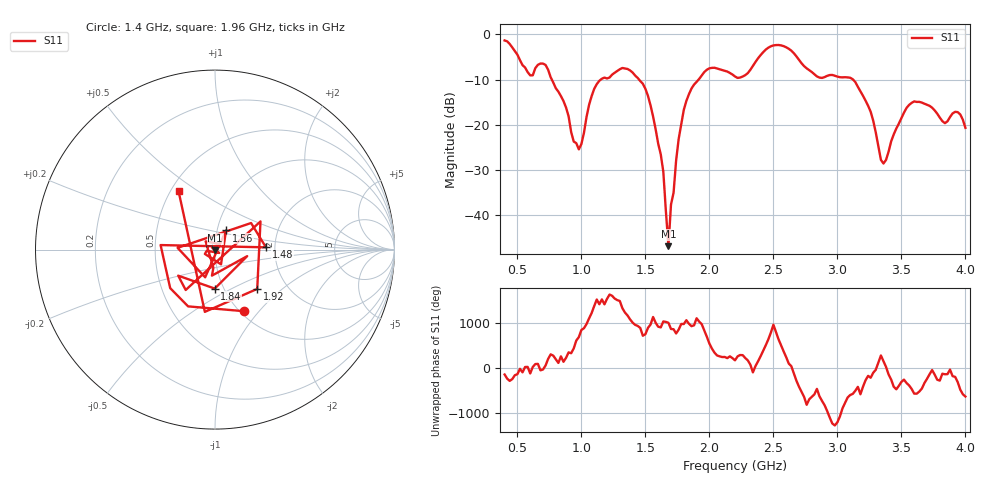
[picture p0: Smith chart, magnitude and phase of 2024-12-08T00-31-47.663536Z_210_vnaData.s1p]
!Created with skrf (http://scikit-rf.org).
# Hz S RI R 50.0
!freq ReS11 ImS11
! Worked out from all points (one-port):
!   181 points, 400 MHz to 4 GHz, reference 50 ohm
!   lowest |S11| = -47.0 dB at 1.68 GHz (marker M1), VSWR 1.01, Z = 50.2 - j0.421 ohm
!   |S11| at or under -10 dB: 768.7 MHz to 1.152 GHz (383.3 MHz wide, 39.9 % of centre); 1.45 GHz to 1.916 GHz (465.4 MHz wide, 27.7 % of centre); 3.122 GHz to end of sweep
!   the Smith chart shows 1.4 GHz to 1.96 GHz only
!   S11 on the Smith chart (normalised r, x): 1.4 GHz: 1.04, -0.83; 1.48 GHz: 1.79, +0.05; 1.56 GHz: 1.10, +0.24; 1.84 GHz: 0.91, -0.41; 1.92 GHz: 1.42, -0.69; 1.96 GHz: 0.55, +0.42
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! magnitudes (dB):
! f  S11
! 400 MHz  -1.3
! 600 MHz  -9.1
! 720 MHz  -6.8
! 860 MHz  -14.8
! 980 MHz  -25.5
! 1.1 GHz  -12.1
! 1.3 GHz  -7.7
! 1.4 GHz  -8.4
! 1.48 GHz  -10.9
! 1.56 GHz  -18.2
! 1.64 GHz  -30.5
! 1.68 GHz  -47.0
! 1.7 GHz  -37.7
! 1.76 GHz  -23.2
! 1.84 GHz  -13.3
! 1.92 GHz  -9.9
! 1.96 GHz  -8.3
! 2.2 GHz  -9.3
! 2.48 GHz  -2.6
! 2.66 GHz  -4.2
! 2.86 GHz  -9.6
! 3.1 GHz  -9.6
! 3.26 GHz  -17.1
! 3.36 GHz  -28.6
! 3.56 GHz  -15.6
! 3.84 GHz  -19.7
! 3.94 GHz  -17.2
! 4 GHz  -20.7
